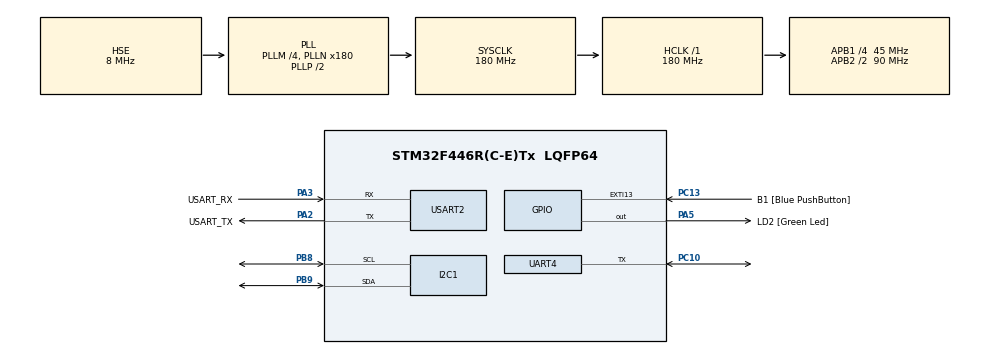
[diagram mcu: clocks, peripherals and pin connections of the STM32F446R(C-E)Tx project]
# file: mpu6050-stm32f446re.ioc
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Mcu.Family=STM32F4
Mcu.Name=STM32F446R(C-E)Tx
Mcu.Package=LQFP64
NVIC.PriorityGroup=NVIC_PRIORITYGROUP_0
PA13.GPIO_Label=TMS
PA13.Mode=Serial_Wire
PA13.Signal=SYS_JTMS-SWDIO
PA14.GPIO_Label=TCK
PA14.Mode=Serial_Wire
PA14.Signal=SYS_JTCK-SWCLK
PA2.GPIO_Label=USART_TX
PA2.Mode=Asynchronous
PA2.Signal=USART2_TX
PA3.GPIO_Label=USART_RX
PA3.Mode=Asynchronous
PA3.Signal=USART2_RX
PA5.GPIO_Label=LD2 [Green Led]
PA5.Signal=GPIO_Output
PB3.GPIO_Label=SWO
PB3.Signal=SYS_JTDO-SWO
PB8.Mode=I2C
PB8.Signal=I2C1_SCL
PB9.Mode=I2C
PB9.Signal=I2C1_SDA
PC10.Mode=Half_duplex(single_wire_mode)
PC10.Signal=UART4_TX
PC13.GPIO_Label=B1 [Blue PushButton]
PC13.GPIO_ModeDefaultEXTI=GPIO_MODE_IT_FALLING
PC13.Signal=GPXTI13
PC14-OSC32_IN.Mode=LSE-External-Oscillator
PC14-OSC32_IN.Signal=RCC_OSC32_IN
PC15-OSC32_OUT.Mode=LSE-External-Oscillator
PC15-OSC32_OUT.Signal=RCC_OSC32_OUT
PH0-OSC_IN.Mode=HSE-External-Clock-Source
PH0-OSC_IN.Signal=RCC_OSC_IN
PH1-OSC_OUT.Mode=HSE-External-Clock-Source
PH1-OSC_OUT.Signal=RCC_OSC_OUT
ProjectManager.HeapSize=0x200
ProjectManager.StackSize=0x400
ProjectManager.TargetToolchain=STM32CubeIDE
RCC.48MHZClocksFreq_Value=84000000
RCC.AHBFreq_Value=180000000
RCC.APB1CLKDivider=RCC_HCLK_DIV4
RCC.APB1Freq_Value=45000000
RCC.APB1TimFreq_Value=90000000
RCC.APB2CLKDivider=RCC_HCLK_DIV2
RCC.APB2Freq_Value=90000000
RCC.APB2TimFreq_Value=180000000
RCC.CortexFreq_Value=180000000
RCC.FLatency-AdvancedSettings=FLASH_LATENCY_5
RCC.HCLKFreq_Value=180000000
RCC.HSE_VALUE=8000000
RCC.HSI_VALUE=16000000
RCC.PLLM=4
RCC.PLLN=180
RCC.PLLSourceVirtual=RCC_PLLSOURCE_HSE
RCC.SYSCLKFreq_VALUE=180000000
RCC.SYSCLKSource=RCC_SYSCLKSOURCE_PLLCLK
RCC.USBFreq_Value=180000000
RCC.VCOOutputFreq_Value=360000000
UART4.VirtualMode=Asynchronous
USART2.VirtualMode=VM_ASYNC
board=NUCLEO-F446RE

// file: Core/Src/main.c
/* USER CODE BEGIN Header */
/**
  ******************************************************************************
  * @file           : main.c
  * @brief          : Main program body
  ******************************************************************************
  * @attention
  *
  * Copyright (c) 2022 STMicroelectronics.
  * All rights reserved.
  *
  * This software is licensed under terms that can be found in the LICENSE file
  * in the root directory of this software component.
  * If no LICENSE file comes with this software, it is provided AS-IS.
  *
  ******************************************************************************
  */
/* USER CODE END Header */
#include "main.h"
#include "i2c.h"
#include "usart.h"
#include "gpio.h"

/* USER CODE BEGIN Includes */

	#include <string.h>
	#include "stdio.h"
	#include "mpu6050.h"

/* USER CODE END Includes */

/* USER CODE BEGIN PD */

	#define MY_DEBUG
#ifdef MY_DEBUG
	#define 	UART_DEBUG 			&huart4
#endif

/* USER CODE END PD */

/* USER CODE BEGIN PM */

	MPU6050_t MPU6050;

/* USER CODE END PM */

void SystemClock_Config(void);
/* USER CODE BEGIN PFP */

	void UartDebug(char* _text) ;
	void I2C_ScanBusFlow(I2C_HandleTypeDef * _hi2c, UART_HandleTypeDef * _huart) ;

/* USER CODE END PFP */

int main(void)
{

  /* MCU Configuration--------------------------------------------------------*/

  /* Reset of all peripherals, Initializes the Flash interface and the Systick. */
  HAL_Init();

  /* Configure the system clock */
  SystemClock_Config();

  /* Initialize all configured peripherals */
  MX_GPIO_Init();
  MX_I2C1_Init();
  MX_UART4_Init();
  MX_USART2_UART_Init();

	char		debugString[0XFF]	= { 0 } ;

	#define 	DATE_as_int_str 	(__DATE__)
	#define 	TIME_as_int_str 	(__TIME__)
	sprintf(debugString,"\tBuild: %s. Time: %s.\r\n" ,	DATE_as_int_str , TIME_as_int_str ) ;
	UartDebug(debugString);

	I2C_ScanBusFlow(&hi2c1, &huart4);

	sprintf(debugString,"Connect and init MPU6050... " ) ;
	UartDebug(debugString);

	while (MPU6050_Init(&hi2c1) == 1);

	sprintf(debugString,"successful!\r\n\r\n" ) ;
	UartDebug(debugString);

  /* Infinite loop */
  /* USER CODE BEGIN WHILE */
  while (1)
  {
	  MPU6050_Read_All(&hi2c1, &MPU6050);
	  HAL_Delay(100);
	  sprintf(debugString,"x.Raw -> %x\ty.Raw -> %x\tz.Raw -> %x\t ", MPU6050.Accel_X_RAW , MPU6050.Accel_Y_RAW , MPU6050.Accel_Z_RAW);
		UartDebug(debugString);

	  sprintf(debugString,"x -> %fx\ty -> %fx\tz -> %fx\t \n\r", MPU6050.Ax, MPU6050.Ay, MPU6050.Az);
		UartDebug(debugString);
    /* USER CODE END WHILE */

  }
}

void SystemClock_Config(void)
{
  RCC_OscInitTypeDef RCC_OscInitStruct = {0};
  RCC_ClkInitTypeDef RCC_ClkInitStruct = {0};

  /** Configure the main internal regulator output voltage
  */
  __HAL_RCC_PWR_CLK_ENABLE();
  __HAL_PWR_VOLTAGESCALING_CONFIG(PWR_REGULATOR_VOLTAGE_SCALE1);

  /** Initializes the RCC Oscillators according to the specified parameters
  * in the RCC_OscInitTypeDef structure.
  */
  RCC_OscInitStruct.OscillatorType = RCC_OSCILLATORTYPE_HSE;
  RCC_OscInitStruct.HSEState = RCC_HSE_BYPASS;
  RCC_OscInitStruct.PLL.PLLState = RCC_PLL_ON;
  RCC_OscInitStruct.PLL.PLLSource = RCC_PLLSOURCE_HSE;
  RCC_OscInitStruct.PLL.PLLM = 4;
  RCC_OscInitStruct.PLL.PLLN = 180;
  RCC_OscInitStruct.PLL.PLLP = RCC_PLLP_DIV2;
  RCC_OscInitStruct.PLL.PLLQ = 2;
  RCC_OscInitStruct.PLL.PLLR = 2;
  if (HAL_RCC_OscConfig(&RCC_OscInitStruct) != HAL_OK)
  {
    Error_Handler();
  }

  /** Activate the Over-Drive mode
  */
  if (HAL_PWREx_EnableOverDrive() != HAL_OK)
  {
    Error_Handler();
  }

  /** Initializes the CPU, AHB and APB buses clocks
  */
  RCC_ClkInitStruct.ClockType = RCC_CLOCKTYPE_HCLK|RCC_CLOCKTYPE_SYSCLK
                              |RCC_CLOCKTYPE_PCLK1|RCC_CLOCKTYPE_PCLK2;
  RCC_ClkInitStruct.SYSCLKSource = RCC_SYSCLKSOURCE_PLLCLK;
  RCC_ClkInitStruct.AHBCLKDivider = RCC_SYSCLK_DIV1;
  RCC_ClkInitStruct.APB1CLKDivider = RCC_HCLK_DIV4;
  RCC_ClkInitStruct.APB2CLKDivider = RCC_HCLK_DIV2;

  if (HAL_RCC_ClockConfig(&RCC_ClkInitStruct, FLASH_LATENCY_5) != HAL_OK)
  {
    Error_Handler();
  }
}

/* USER CODE BEGIN 4 */

void UartDebug(char* _text) {
	#ifdef MY_DEBUG
		HAL_UART_Transmit(UART_DEBUG, (uint8_t*)_text, strlen(_text), 100);
	#endif
}	//***********************************************************************

//======================================================================
void I2C_ScanBusFlow(I2C_HandleTypeDef * _hi2c, UART_HandleTypeDef * _huart) {
	char DataChar[64];
	uint8_t device_serial_numb = 0;

	sprintf(DataChar,"\r\n\tStart scan I2C\r\n");
	HAL_UART_Transmit(_huart, (uint8_t *)DataChar, strlen(DataChar), 100);

	for ( uint8_t sbf = 0x07; sbf < 0x78; sbf++) {
		if (HAL_I2C_IsDeviceReady(_hi2c, sbf << 1, 10, 100) == HAL_OK) {
			device_serial_numb++;
			switch (sbf) {
				case 0x20: sprintf(DataChar,"%d) PCF-8574"			, device_serial_numb ) ; 	break ;
				case 0x23: sprintf(DataChar,"%d) BH-1750"			, device_serial_numb ) ; 	break ;
				case 0x27: sprintf(DataChar,"%d) FC113 "			, device_serial_numb ) ; 	break ;
				case 0x38: sprintf(DataChar,"%d) PCF-8574"			, device_serial_numb ) ; 	break ;
				case 0x57: sprintf(DataChar,"%d) AT24c32"			, device_serial_numb ) ; 	break ;
				case 0x50: sprintf(DataChar,"%d) AT24c256"			, device_serial_numb ) ; 	break ;
				case 0x68: sprintf(DataChar,"%d) DS3231 or MPU9250"	, device_serial_numb ) ; 	break ;
				case 0x76: sprintf(DataChar,"%d) BMP280"			, device_serial_numb ) ; 	break ;
				case 0x77: sprintf(DataChar,"%d) BMP180"			, device_serial_numb ) ; 	break ;
				default:   sprintf(DataChar,"%d) Unknown"			, device_serial_numb ) ;	break ;
			}// end switch
			char DataCharRes[96];
			sprintf(DataCharRes,"%s\tAdr: 0x%x\r\n", DataChar, sbf);
			HAL_UART_Transmit(_huart, (uint8_t *)DataCharRes, strlen(DataCharRes), 100);
			HAL_Delay(10);
		} //end if HAL I2C1
	} // end for sbf i2c1

	if (device_serial_numb == 0) {
		sprintf(DataChar,"---no devices found---\r\n");
		HAL_UART_Transmit(_huart, (uint8_t *)DataChar, strlen(DataChar), 100);
	}
	sprintf(DataChar,"\tEnd scan I2C\r\n");
	HAL_UART_Transmit(_huart, (uint8_t *)DataChar, strlen(DataChar), 100);
}// end void I2C_ScanBus

/* USER CODE END 4 */

void Error_Handler(void)
{
  __disable_irq();
  while (1)
  {
  }
}
